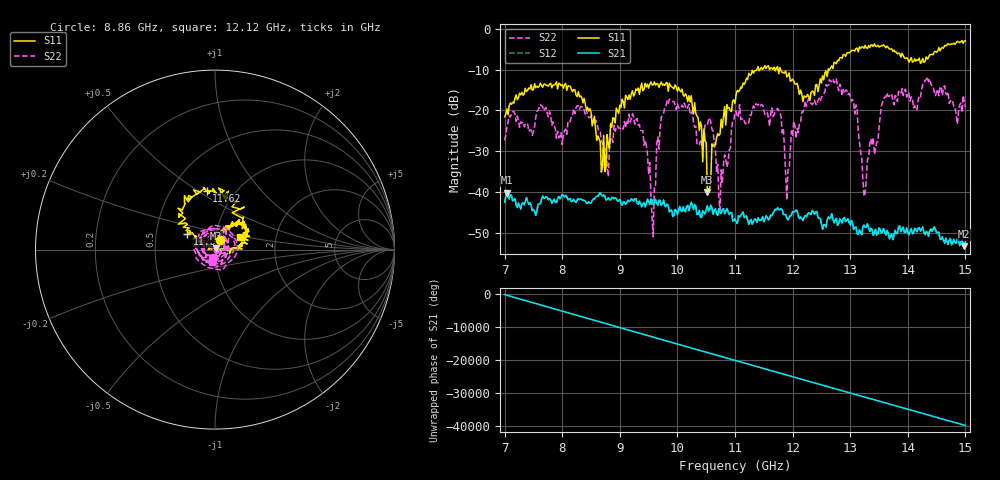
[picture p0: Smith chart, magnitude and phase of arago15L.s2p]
!Keysight Technologies,N5242B,MY47200105,A.14.00.23
!Date: Friday, April 26, 2024 11:28:39
!Correction: S11(C  2-Port  )
!S21(C  2-Port  )
!S12(C  2-Port  )
!S22(C  2-Port  )
!S2P File: Measurement: :
# Hz S  RI  R 50
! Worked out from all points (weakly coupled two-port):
!   401 points, 7 GHz to 15 GHz, reference 50 ohm
!   highest |S21| = -40.18 dB at 7.04 GHz (marker M1); lowest = -53.2 dB at 14.98 GHz (marker M2)
!   lowest |S11| = -40.0 dB at 10.52 GHz (marker M3), VSWR 1.02, Z = 50.7 + j0.677 ohm
!   |S11| at or under -10 dB: start of sweep to 11.38 GHz; 11.41434 GHz to 11.43605 GHz (21.71 MHz wide, 0.19 % of centre); 11.79 GHz to 12.62 GHz (826.1 MHz wide, 6.77 % of centre) (the widest 3 of 7)
!   |S22| runs from -50.9 to -11.8 dB; largest |S21 - S12| = 0.00026
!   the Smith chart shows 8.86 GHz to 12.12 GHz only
!   S11 on the Smith chart (normalised r, x): 8.86 GHz: 1.05, +0.12; 11.04 GHz: 0.72, +0.13; 11.62 GHz: 0.74, +0.55; 12.12 GHz: 1.31, +0.19
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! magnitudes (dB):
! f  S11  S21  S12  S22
! 7 GHz  -21.6  -42.5  -42.5  -27.3
! 7.04 GHz  -19.6  -40.2  -40.2  -24.1
! 8.34 GHz  -16.8  -41.8  -41.8  -19.2
! 8.72 GHz  -26.2  -40.7  -40.7  -31.6
! 8.86 GHz  -24.1  -41.3  -41.3  -26.7
! 9.32 GHz  -14.5  -43.0  -43.0  -23.6
! 9.58 GHz  -13.8  -43.1  -43.0  -50.9
! 9.68 GHz  -14.4  -42.0  -42.0  -29.5
! 10.26 GHz  -19.0  -43.3  -43.2  -20.3
! 10.52 GHz  -40.0  -43.4  -43.4  -23.7
! 10.76 GHz  -22.1  -45.3  -45.2  -34.6
! 11 GHz  -18.3  -46.5  -46.5  -20.5
! 11.04 GHz  -15.1  -47.7  -47.7  -21.7
! 11.62 GHz  -9.6  -45.6  -45.7  -20.7
! 11.9 GHz  -11.8  -46.4  -46.3  -42.0
! 12.12 GHz  -16.1  -46.5  -46.5  -22.9
! 12.34 GHz  -15.3  -44.4  -44.4  -18.6
! 12.96 GHz  -5.9  -46.6  -46.5  -16.1
! 13.26 GHz  -4.1  -48.6  -48.8  -40.3
! 13.68 GHz  -5.0  -51.4  -51.4  -16.6
! 14.98 GHz  -3.0  -53.2  -53.0  -17.8
! 15 GHz  -2.9  -52.0  -52.2  -19.2
